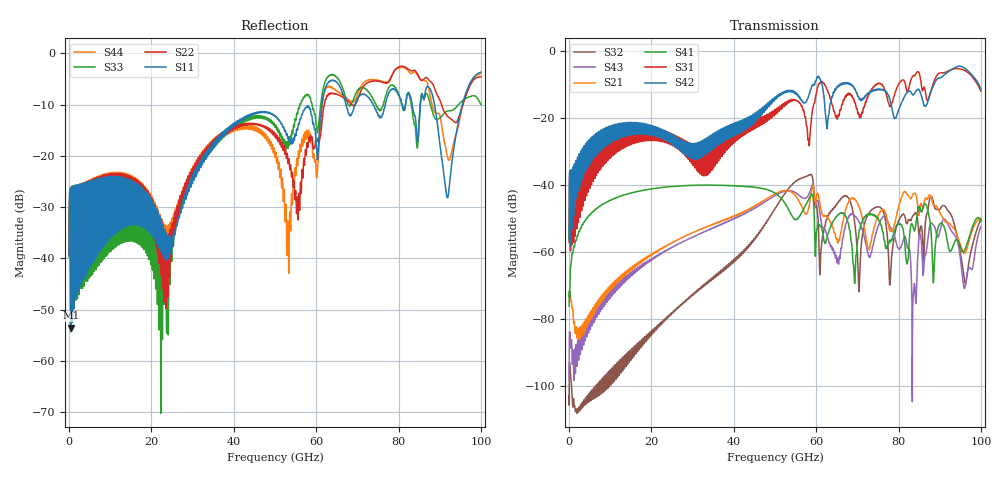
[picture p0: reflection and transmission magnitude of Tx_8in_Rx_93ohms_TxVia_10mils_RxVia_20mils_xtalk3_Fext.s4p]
! Info: Touchstone file created by Circ.  Input file=Tx_8in_Rx_93ohms_TxVia_10mils_RxVia_20mils.circ
# Hz S RI R 50
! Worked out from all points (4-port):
!   10000 points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, 10 MHz to 100 GHz, reference 50 ohm
!   strongest paths, dB at 10 MHz, 25.01 GHz, 50.01 GHz, 75.01 GHz, 100 GHz:
!     S42: -56.4, -25.0, -13.8, -11.4, -11.4
!     S31: -57.1, -24.7, -17.6, -9.7, -11.9
!     S41: -76.1, -40.4, -42.4, -49.9, -50.9
!     S21: -73.1, -57.3, -42.6, -49.4, -50.1
!     S43: -98.5, -58.7, -43.1, -52.6, -52.5
!     S32: -103.0, -78.1, -47.0, -46.5, -50.3
!   lowest |S11| = -53.5 dB at 400 MHz (marker M1), VSWR 1.00, Z = 49.8 + j0.107 ohm
!   |S11| at or under -10 dB: start of sweep to 61.39 GHz; 73.81 GHz to 76.77 GHz (2.96 GHz wide, 3.93 % of centre); 88.75 GHz to 95.49 GHz (6.741 GHz wide, 7.32 % of centre)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
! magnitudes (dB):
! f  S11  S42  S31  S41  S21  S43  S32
! 10 MHz  -39.2  -56.4  -57.1  -76.1  -73.1  -98.5  -103.0
! 400 MHz  -53.5  -45.5  -45.6  -64.0  -74.2  -88.6  -97.5
! 23.65 GHz  -35.7  -26.3  -26.7  -40.6  -58.0  -59.4  -79.6
! 58.38 GHz  -10.9  -12.7  -27.3  -43.7  -45.6  -42.2  -36.9
! 70.41 GHz  -8.3  -14.1  -19.0  -53.9  -46.4  -50.9  -71.6
! 83.75 GHz  -11.8  -12.8  -7.2  -53.5  -42.5  -70.1  -48.8
! 100 GHz  -3.7  -11.4  -11.9  -50.9  -50.1  -52.5  -50.3
